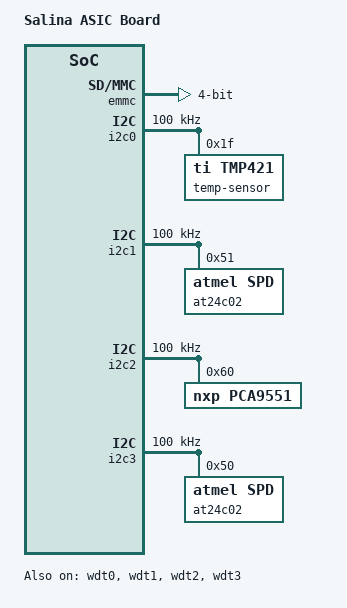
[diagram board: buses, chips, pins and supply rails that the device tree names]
// SPDX-License-Identifier: (GPL-2.0-only or BSD-2-Clause)
/*
 * Device Tree file for AMD Pensando Salina Board.
 *
 * Copyright 2023-2024 Advanced Micro Devices, Inc.
 */

/dts-v1/;

#include "salina-a35.dtsi"
#include "salina-a35-common.dtsi"
#include "elba-flash-parts.dtsi"

/ {
	model = "Salina ASIC Board";
	compatible = "pensando,salina-a35";

	aliases {
		serial0 = &uart0;
		spi0 = &spi0;
		spi1 = &spi1;
	};

	chosen {
		stdout-path = "serial0:9600n8";
	};
};

&emmc_clk {
	clock-frequency = <208000000>;
};

&emmc {
	bus-width = <4>;
	status = "ok";
};

&i2c0 {
	clock-frequency = <100000>;
	status = "okay";

	temp-sensor@1f {
		compatible = "ti,tmp421";
		reg = <0x1f>;
	};
};

&i2c1 {
	clock-frequency = <100000>;
	status = "okay";

	at24c02@51 {
		compatible = "atmel,spd";
		reg = <0x51>;
	};
};

&i2c2 {
	clock-frequency = <100000>;
	status = "okay";

	pca9551@60{
		compatible = "nxp,pca9551";
		reg = <0x60>;
	};
};

&i2c3 {
	clock-frequency = <100000>;
	status = "okay";

	at24c02@50 {
		compatible = "atmel,spd";
		reg = <0x50>;
	};
};

&wdt0 {
	status = "okay";
};

&wdt1 {
	status = "okay";
};

&wdt2 {
	status = "okay";
};

&wdt3 {
	status = "okay";
};
